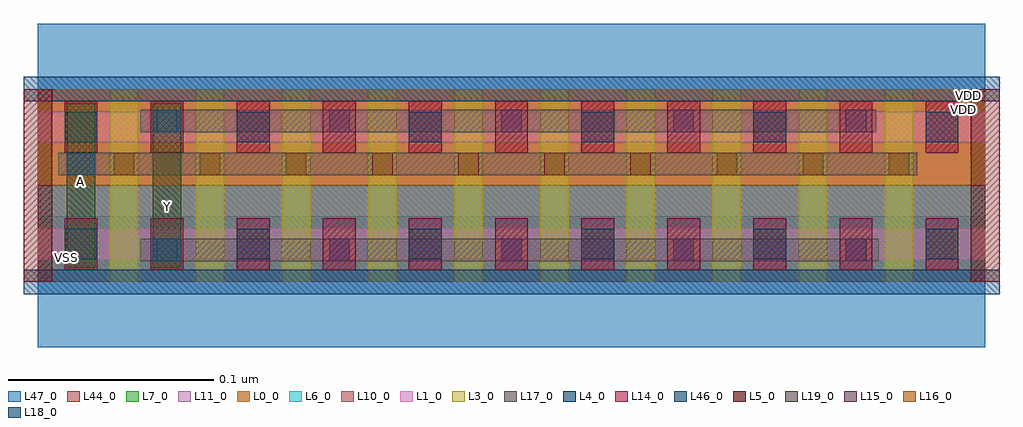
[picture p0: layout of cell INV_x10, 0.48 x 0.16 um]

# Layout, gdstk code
import gdstk
lib = gdstk.Library(unit=1e-6, precision=5e-10)
def R(c, l, rs):  # rectangles x0, y0, x1, y1
    for r in rs: c.add(gdstk.rectangle(r[:2], r[2:], *l))
def A(c, l, x, y, w, h, nx, ny, dx, dy):  # array of equal rectangles
    R(c, l, [(x+i*dx, y+j*dy, x+i*dx+w, y+j*dy+h) for i in range(nx) for j in range(ny)])
L0_0 = (0, 0)
L1_0 = (1, 0)
L3_0 = (3, 0)
L4_0 = (4, 0)
L5_0 = (5, 0)
L6_0 = (6, 0)
L7_0 = (7, 0)
L10_0 = (10, 0)
L11_0 = (11, 0)
L14_0 = (14, 0)
L15_0 = (15, 0)
L16_0 = (16, 0)
L17_0 = (17, 0)
L18_0 = (18, 0)
L19_0 = (19, 0)
L44_0 = (44, 0)
L46_0 = (46, 0)
L47_0 = (47, 0)

inv_x10 = lib.new_cell('INV_x10')
R(inv_x10, L0_0, [(0,0.047,0.462,0.094)])
R(inv_x10, L1_0, [(0,0.011,0.462,0.026), (0,0.068,0.462,0.083)])
A(inv_x10, L3_0, 0.035, 0, 0.014, 0.094, 10, 1, 0.042, 0)
R(inv_x10, L4_0, [(-0.007,-0.006,0.469,0.006), (-0.007,0.088,0.469,0.1)])
R(inv_x10, L5_0, [(-0.007,0,0.007,0.094), (0.455,0,0.469,0.094)])
R(inv_x10, L6_0, [(0,0,0.462,0.047)])
R(inv_x10, L7_0, [(0,0.047,0.462,0.094)])
R(inv_x10, L10_0, [(0,0,0.462,0.047)])
R(inv_x10, L11_0, [(0,0.047,0.462,0.094)])
A(inv_x10, L14_0, 0.013, 0.006, 0.016, 0.025, 11, 2, 0.042, 0.057)
A(inv_x10, L15_0, 0.058, 0.01, 0.01, 0.011, 5, 2, 0.084, 0.063)
A(inv_x10, L16_0, 0.037, 0.052, 0.01, 0.011, 10, 1, 0.042, 0)
R(inv_x10, L17_0, [(0.05,0.01,0.41,0.021), (0.01,0.052,0.429,0.063), (0.05,0.073,0.409,0.084)])
R(inv_x10, L18_0, [(0.056,0.01,0.07,0.021), (0.014,0.052,0.028,0.063), (0.056,0.073,0.07,0.084)])
R(inv_x10, L19_0, [(0.014,0.007,0.028,0.087), (0.056,0.007,0.07,0.087)])
R(inv_x10, L44_0, [(0,0,0.462,0.094)])
A(inv_x10, L46_0, 0.013, 0.011, 0.016, 0.015, 6, 2, 0.084, 0.057)
R(inv_x10, L47_0, [(0,-0.032,0.462,0.032), (0,0.062,0.462,0.126)])
inv_x10.add(gdstk.Label('VSS', (0.014,0.012), layer=47, texttype=2))
inv_x10.add(gdstk.Label('VDD', (0.4515,0.084), layer=47, texttype=2))
inv_x10.add(gdstk.Label('VDD', (0.454,0.091), layer=0, texttype=2))
inv_x10.add(gdstk.Label('Y', (0.063,0.037), layer=19, texttype=2))
inv_x10.add(gdstk.Label('A', (0.021,0.049), layer=19, texttype=2))
inv_x10.add(gdstk.Label('VSS', (0.011,0.008), layer=54, texttype=2))

lib.write_gds('INV_x10.gds')
